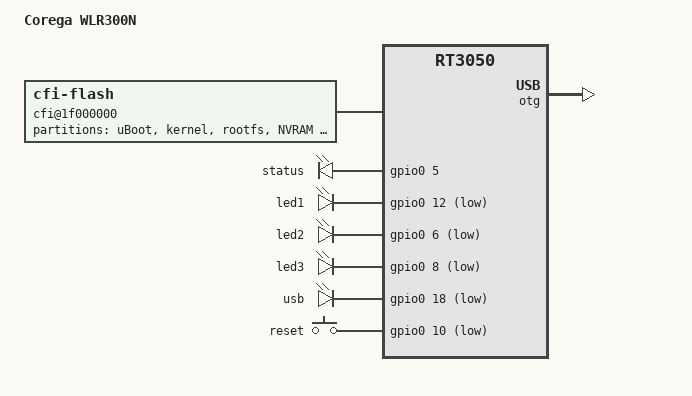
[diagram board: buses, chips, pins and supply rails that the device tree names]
/dts-v1/;

#include "rt3050_iic.dtsi"

/ {
	compatible = "WLR300N", "ralink,rt3050-soc";
	model = "Corega WLR300N";

	cfi@1f000000 {
		compatible = "cfi-flash";
		reg = <0x1f000000 0x800000>;
		bank-width = <2>;
		device-width = <2>;
		#address-cells = <1>;
		#size-cells = <1>;

		partition@0 {
			label = "uBoot";
			reg = <0x0 0x60000>;
			read-only;
		};

		partition@50000 {
			label = "kernel";
			reg = <0x00060000 0x00120000>;
			read-only;
		};

		partition@160000 {
			label = "rootfs";
			reg = <0x00180000 0x00660000>;
			read-only;
		};
/*
		partition@800000 {
			label = "upgrade";
			reg = <0x00060000 0x00780000>;
		};
*/

		factory: partition@7e0000 {
			label = "NVRAM";
			reg = <0x007e0000 0x00010000>;
		};

		partition@7f0000 {
			label = "NVRAM_FACTORY";
			reg = <0x007f0000 0x00010000>;
		};
	};


	gpio-leds {
		compatible = "gpio-leds";

		status {
			label = "status";
			gpios = <&gpio0 5 0>;
		};

		led1 {
			label = "led1";
			gpios = <&gpio0 12 1>;
		};

		led2 {
			label = "led2";
			gpios = <&gpio0 6 1>;
		};

		led3 {
			label = "led3";
			gpios = <&gpio0 8 1>;
		};

		led4 {
			label = "usb";
			gpios = <&gpio0 18 1>;
		};

	};
	gpio-keys-polled {
		compatible = "gpio-keys-polled";
		#address-cells = <1>;
		#size-cells = <0>;
		poll-interval = <20>;

		reset {
			label = "reset";
			gpios = <&gpio0 10 1>;
			linux,code = <0x198>;
		};

	};
 	rtl8366rb {
		compatible = "rtl8366rb";
/*
 		gpio-sda = <&gpio0 1 0>;
 		gpio-sck = <&gpio0 2 0>;
*/
 	};
};

&pinctrl {
	state_default: pinctrl0 {
		gpio {
			ralink,group = "i2c", "jtag", "uartf";
			ralink,function = "gpio";
		};

		rgmii {
			ralink,group = "rgmii";
			ralink,function = "rgmii";
		};

		mdio {
			ralink,group = "mdio";
			ralink,function = "mdio";
		};
	};
};
/*
&ethernet {
	mtd-mac-address = <&factory 0x28>;
};
*/

&esw {
	mediatek,portmap = <0x2f>;
};
/*
&wmac {
	ralink,mtd-eeprom = <&factory 0>;
};
*/
&otg {
	status = "okay";
};

